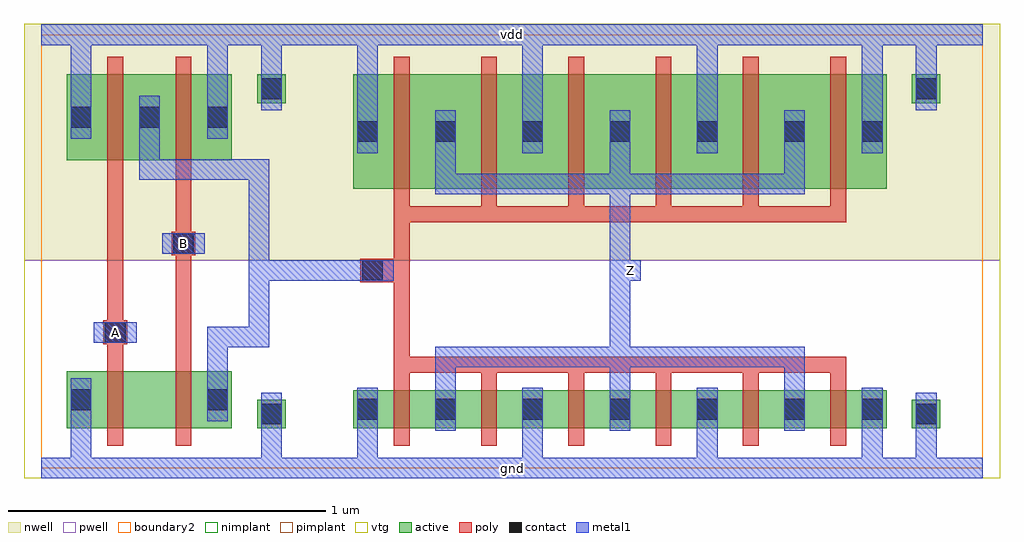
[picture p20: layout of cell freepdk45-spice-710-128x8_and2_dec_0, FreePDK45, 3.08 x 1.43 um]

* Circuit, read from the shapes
.subckt freepdk45-spice-710-128x8_and2_dec_0 A B Z gnd vdd
M1 freepdk45-spice-710-128x8_pnand2_0/freepdk45-spice-710-128x8_nmos_m1_w0_180_sm1_dactive_2/D A gnd gnd nfet w=0.18u l=0.05u
M2 freepdk45-spice-710-128x8_pinv_0_1/A B freepdk45-spice-710-128x8_pnand2_0/freepdk45-spice-710-128x8_nmos_m1_w0_180_sm1_dactive_2/D gnd nfet w=0.18u l=0.05u
M3 Z freepdk45-spice-710-128x8_pinv_0_1/A gnd gnd nfet w=0.12u l=0.05u m=6
M4 freepdk45-spice-710-128x8_pinv_0_1/A A vdd vdd pfet w=0.27u l=0.05u
M5 vdd B freepdk45-spice-710-128x8_pinv_0_1/A vdd pfet w=0.27u l=0.05u
M6 Z freepdk45-spice-710-128x8_pinv_0_1/A vdd vdd pfet w=0.36u l=0.05u m=6
.ends

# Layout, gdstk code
import gdstk
lib = gdstk.Library(unit=1e-6, precision=5e-10)
def R(c, l, rs):  # rectangles x0, y0, x1, y1
    for r in rs: c.add(gdstk.rectangle(r[:2], r[2:], *l))
def A(c, l, x, y, w, h, nx, ny, dx, dy):  # array of equal rectangles
    R(c, l, [(x+i*dx, y+j*dy, x+i*dx+w, y+j*dy+h) for i in range(nx) for j in range(ny)])
active = (1, 0)
pwell = (2, 0)
nwell = (3, 0)
nimplant = (4, 0)
pimplant = (5, 0)
vtg = (6, 0)
poly = (9, 0)
contact = (10, 0)
metal1 = (11, 0)
boundary2 = (239, 0)

freepdk45_spice_710_128x = lib.new_cell('freepdk45-spice-710-128x8_contact_11')
R(freepdk45_spice_710_128x, active, [(0,0.0225,0.09,0.1125)])
R(freepdk45_spice_710_128x, nwell, [(-0.055,-0.0325,0.145,0.1675)])
R(freepdk45_spice_710_128x, pimplant, [(0,0.0225,0.09,0.1125)])
R(freepdk45_spice_710_128x, contact, [(0.0125,0.035,0.0775,0.1)])
R(freepdk45_spice_710_128x, metal1, [(0.0125,0,0.0775,0.135)])
R(freepdk45_spice_710_128x, boundary2, [(-0.055,-0.0325,0.145,0.1675)])

c_freepdk45_spice_710_128x = lib.new_cell('freepdk45-spice-710-128x8_pmos_m1_w0_270_sm1_dm1')
R(c_freepdk45_spice_710_128x, active, [(0,0,0.305,0.27)])
R(c_freepdk45_spice_710_128x, nwell, [(-0.08,-0.08,0.385,0.35)])
R(c_freepdk45_spice_710_128x, pimplant, [(0,0,0.305,0.27)])
R(c_freepdk45_spice_710_128x, vtg, [(-0.08,-0.08,0.385,0.35)])
R(c_freepdk45_spice_710_128x, poly, [(0.1275,-0.055,0.1775,0.325), (0.1275,-0.055,0.1775,0.325)])
R(c_freepdk45_spice_710_128x, metal1, [(0.0125,0.0675,0.0775,0.2025), (0.2275,0.0675,0.2925,0.2025)])
R(c_freepdk45_spice_710_128x, boundary2, [(-0.08,-0.08,0.385,0.35)])
c_freepdk45_spice_710_128x.add(gdstk.Reference(freepdk45_spice_710_128x, (0,0.0675)))
c_freepdk45_spice_710_128x.add(gdstk.Reference(freepdk45_spice_710_128x, (0.215,0.0675)))
c_freepdk45_spice_710_128x.add(gdstk.Label('G', (0.1525,0.135), layer=9, texttype=0))
c_freepdk45_spice_710_128x.add(gdstk.Label('S', (0.045,0.135), layer=11, texttype=0))
c_freepdk45_spice_710_128x.add(gdstk.Label('D', (0.26,0.135), layer=11, texttype=0))

c_freepdk45_spice_710_128x_ = lib.new_cell('freepdk45-spice-710-128x8_contact_10')
R(c_freepdk45_spice_710_128x_, active, [(0,0.0225,0.09,0.1125)])
R(c_freepdk45_spice_710_128x_, pwell, [(-0.055,-0.0325,0.145,0.1675)])
R(c_freepdk45_spice_710_128x_, nimplant, [(0,0.0225,0.09,0.1125)])
R(c_freepdk45_spice_710_128x_, contact, [(0.0125,0.035,0.0775,0.1)])
R(c_freepdk45_spice_710_128x_, metal1, [(0.0125,0,0.0775,0.135)])
R(c_freepdk45_spice_710_128x_, boundary2, [(-0.055,-0.0325,0.145,0.1675)])

c_freepdk45_spice_710_128x__ = lib.new_cell('freepdk45-spice-710-128x8_nmos_m1_w0_180_sm1_dactive')
R(c_freepdk45_spice_710_128x__, active, [(0,0,0.305,0.18), (0.215,0.045,0.305,0.135)])
R(c_freepdk45_spice_710_128x__, pwell, [(-0.08,-0.08,0.385,0.26)])
R(c_freepdk45_spice_710_128x__, nimplant, [(0,0,0.305,0.18)])
R(c_freepdk45_spice_710_128x__, vtg, [(-0.08,-0.08,0.385,0.26)])
R(c_freepdk45_spice_710_128x__, poly, [(0.1275,-0.055,0.1775,0.235), (0.1275,-0.055,0.1775,0.235)])
R(c_freepdk45_spice_710_128x__, metal1, [(0.0125,0.0225,0.0775,0.1575)])
R(c_freepdk45_spice_710_128x__, boundary2, [(-0.08,-0.08,0.385,0.26)])
c_freepdk45_spice_710_128x__.add(gdstk.Reference(c_freepdk45_spice_710_128x_, (0,0.0225)))
c_freepdk45_spice_710_128x__.add(gdstk.Label('G', (0.1525,0.09), layer=9, texttype=0))
c_freepdk45_spice_710_128x__.add(gdstk.Label('S', (0.045,0.09), layer=11, texttype=0))
c_freepdk45_spice_710_128x__.add(gdstk.Label('D', (0.26,0.09), layer=1, texttype=0))

c_freepdk45_spice_710_128x___ = lib.new_cell('freepdk45-spice-710-128x8_nmos_m1_w0_180_sactive_dm1')
R(c_freepdk45_spice_710_128x___, active, [(0,0,0.305,0.18), (0,0.045,0.09,0.135)])
R(c_freepdk45_spice_710_128x___, pwell, [(-0.08,-0.08,0.385,0.26)])
R(c_freepdk45_spice_710_128x___, nimplant, [(0,0,0.305,0.18)])
R(c_freepdk45_spice_710_128x___, vtg, [(-0.08,-0.08,0.385,0.26)])
R(c_freepdk45_spice_710_128x___, poly, [(0.1275,-0.055,0.1775,0.235), (0.1275,-0.055,0.1775,0.235)])
R(c_freepdk45_spice_710_128x___, metal1, [(0.2275,0.0225,0.2925,0.1575)])
R(c_freepdk45_spice_710_128x___, boundary2, [(-0.08,-0.08,0.385,0.26)])
c_freepdk45_spice_710_128x___.add(gdstk.Reference(c_freepdk45_spice_710_128x_, (0.215,0.0225)))
c_freepdk45_spice_710_128x___.add(gdstk.Label('G', (0.1525,0.09), layer=9, texttype=0))
c_freepdk45_spice_710_128x___.add(gdstk.Label('S', (0.045,0.09), layer=1, texttype=0))
c_freepdk45_spice_710_128x___.add(gdstk.Label('D', (0.26,0.09), layer=11, texttype=0))

c_freepdk45_spice_710_128x____ = lib.new_cell('freepdk45-spice-710-128x8_contact_12')
R(c_freepdk45_spice_710_128x____, active, [(0,0.0225,0.09,0.1125)])
R(c_freepdk45_spice_710_128x____, nwell, [(-0.055,-0.0325,0.145,0.1675)])
R(c_freepdk45_spice_710_128x____, nimplant, [(0,0.0225,0.09,0.1125)])
R(c_freepdk45_spice_710_128x____, contact, [(0.0125,0.035,0.0775,0.1)])
R(c_freepdk45_spice_710_128x____, metal1, [(0.0125,0,0.0775,0.135)])
R(c_freepdk45_spice_710_128x____, boundary2, [(-0.055,-0.0325,0.145,0.1675)])

c_freepdk45_spice_710_128x_____ = lib.new_cell('freepdk45-spice-710-128x8_contact_13')
R(c_freepdk45_spice_710_128x_____, active, [(0,0.0225,0.09,0.1125)])
R(c_freepdk45_spice_710_128x_____, pwell, [(-0.055,-0.0325,0.145,0.1675)])
R(c_freepdk45_spice_710_128x_____, pimplant, [(0,0.0225,0.09,0.1125)])
R(c_freepdk45_spice_710_128x_____, contact, [(0.0125,0.035,0.0775,0.1)])
R(c_freepdk45_spice_710_128x_____, metal1, [(0.0125,0,0.0775,0.135)])
R(c_freepdk45_spice_710_128x_____, boundary2, [(-0.055,-0.0325,0.145,0.1675)])

c_freepdk45_spice_710_128x______ = lib.new_cell('freepdk45-spice-710-128x8_contact_14')
R(c_freepdk45_spice_710_128x______, poly, [(0.03,0,0.105,0.075)])
R(c_freepdk45_spice_710_128x______, contact, [(0.035,0.005,0.1,0.07)])
R(c_freepdk45_spice_710_128x______, metal1, [(0,0.005,0.135,0.07)])
R(c_freepdk45_spice_710_128x______, boundary2, [(0,0,0.135,0.075)])

c_freepdk45_spice_710_128x_______ = lib.new_cell('freepdk45-spice-710-128x8_pnand2')
R(c_freepdk45_spice_710_128x_______, pwell, [(-0.055,-0.0325,0.9575,0.655)])
R(c_freepdk45_spice_710_128x_______, nwell, [(-0.055,0.655,0.9575,1.4)])
R(c_freepdk45_spice_710_128x_______, vtg, [(-0.055,-0.0325,0.9575,0.655), (-0.055,0.655,0.9575,1.4)])
R(c_freepdk45_spice_710_128x_______, poly, [(0.2075,0.36,0.2575,0.915), (0.4225,0.36,0.4725,0.915), (0.2075,0.39,0.2325,0.465), (0.4225,0.67,0.4475,0.745)])
R(c_freepdk45_spice_710_128x_______, metal1, [(0,-0.0325,0.9025,0.0325), (0.0925,-0.0325,0.1575,0.1475), (0.6925,0,0.7575,0.17), (0.5225,0.2825,0.5875,0.4125), (0.5225,0.38,0.5875,0.445), (0.555,0.38,0.685,0.445), (0.6525,0.38,0.7175,0.445), (0.165,0.395,0.3,0.46), (0.6525,0.4125,0.7175,0.94), (0.38,0.675,0.515,0.74), (0.3075,0.9075,0.3725,0.9725), (0.34,0.9075,0.685,0.9725), (0.6525,0.9075,0.7175,0.9725), (0.3075,0.94,0.3725,1.0375), (0.0925,1.0375,0.1575,1.3975), (0.5225,1.0375,0.5875,1.3975), (0.6925,1.195,0.7575,1.365), (0,1.3325,0.9025,1.3975)])
R(c_freepdk45_spice_710_128x_______, boundary2, [(0,0,0.9025,1.365), (0,0,0.9025,1.365)])
c_freepdk45_spice_710_128x_______.add(gdstk.Reference(c_freepdk45_spice_710_128x, (0.08,0.97)))
c_freepdk45_spice_710_128x_______.add(gdstk.Reference(c_freepdk45_spice_710_128x, (0.295,0.97)))
c_freepdk45_spice_710_128x_______.add(gdstk.Reference(c_freepdk45_spice_710_128x__, (0.08,0.125)))
c_freepdk45_spice_710_128x_______.add(gdstk.Reference(c_freepdk45_spice_710_128x___, (0.295,0.125)))
c_freepdk45_spice_710_128x_______.add(gdstk.Reference(c_freepdk45_spice_710_128x____, (0.68,1.1275)))
c_freepdk45_spice_710_128x_______.add(gdstk.Reference(c_freepdk45_spice_710_128x_____, (0.68,0.1025)))
c_freepdk45_spice_710_128x_______.add(gdstk.Reference(c_freepdk45_spice_710_128x______, (0.165,0.39)))
c_freepdk45_spice_710_128x_______.add(gdstk.Reference(c_freepdk45_spice_710_128x______, (0.38,0.67)))
c_freepdk45_spice_710_128x_______.add(gdstk.Label('Z', (0.685,0.94), layer=11, texttype=0))
c_freepdk45_spice_710_128x_______.add(gdstk.Label('gnd', (0.451,0), layer=11, texttype=0))
c_freepdk45_spice_710_128x_______.add(gdstk.Label('vdd', (0.451,1.365), layer=11, texttype=0))
c_freepdk45_spice_710_128x_______.add(gdstk.Label('A', (0.2325,0.4275), layer=11, texttype=0))
c_freepdk45_spice_710_128x_______.add(gdstk.Label('B', (0.4475,0.7075), layer=11, texttype=0))

c_freepdk45_spice_710_128x________ = lib.new_cell('freepdk45-spice-710-128x8_pmos_m6_w0_360_sm1_dm1_da_p')
R(c_freepdk45_spice_710_128x________, active, [(0,0,1.68,0.36)])
R(c_freepdk45_spice_710_128x________, nwell, [(-0.08,-0.08,1.76,0.44)])
R(c_freepdk45_spice_710_128x________, pimplant, [(0,0,1.68,0.36)])
R(c_freepdk45_spice_710_128x________, vtg, [(-0.08,-0.08,1.76,0.44)])
A(c_freepdk45_spice_710_128x________, poly, 0.1275, -0.055, 0.05, 0.47, 6, 1, 0.275, 0)
R(c_freepdk45_spice_710_128x________, poly, [(0.1275,-0.105,1.5525,-0.055)])
A(c_freepdk45_spice_710_128x________, metal1, 0.2575, 0.015, 0.065, 0.165, 3, 1, 0.55, 0)
R(c_freepdk45_spice_710_128x________, metal1, [(0.2575,-0.0175,1.4225,0.0475), (0.0125,0.1125,0.0775,0.2475), (0.5325,0.1125,0.5975,0.2475), (1.0825,0.1125,1.1475,0.2475), (1.6025,0.1125,1.6675,0.2475)])
R(c_freepdk45_spice_710_128x________, boundary2, [(-0.08,-0.105,1.76,0.44)])
c_freepdk45_spice_710_128x________.add(gdstk.Reference(freepdk45_spice_710_128x, (0,0.1125)))
c_freepdk45_spice_710_128x________.add(gdstk.Reference(freepdk45_spice_710_128x, (0.245,0.1125)))
c_freepdk45_spice_710_128x________.add(gdstk.Reference(freepdk45_spice_710_128x, (0.52,0.1125)))
c_freepdk45_spice_710_128x________.add(gdstk.Reference(freepdk45_spice_710_128x, (0.795,0.1125)))
c_freepdk45_spice_710_128x________.add(gdstk.Reference(freepdk45_spice_710_128x, (1.07,0.1125)))
c_freepdk45_spice_710_128x________.add(gdstk.Reference(freepdk45_spice_710_128x, (1.345,0.1125)))
c_freepdk45_spice_710_128x________.add(gdstk.Reference(freepdk45_spice_710_128x, (1.59,0.1125)))
c_freepdk45_spice_710_128x________.add(gdstk.Label('G', (0.84,-0.08), layer=9, texttype=0))
c_freepdk45_spice_710_128x________.add(gdstk.Label('S', (1.115,0.18), layer=11, texttype=0))
c_freepdk45_spice_710_128x________.add(gdstk.Label('S', (0.045,0.18), layer=11, texttype=0))
c_freepdk45_spice_710_128x________.add(gdstk.Label('S', (1.635,0.18), layer=11, texttype=0))
c_freepdk45_spice_710_128x________.add(gdstk.Label('S', (0.565,0.18), layer=11, texttype=0))
c_freepdk45_spice_710_128x________.add(gdstk.Label('D', (0.84,0.015), layer=11, texttype=0))

c_freepdk45_spice_710_128x_________ = lib.new_cell('freepdk45-spice-710-128x8_nmos_m6_w0_120_sm1_dm1_da_p')
R(c_freepdk45_spice_710_128x_________, active, [(0,0,1.68,0.12)])
R(c_freepdk45_spice_710_128x_________, pwell, [(-0.08,-0.08,1.76,0.2)])
R(c_freepdk45_spice_710_128x_________, nimplant, [(0,0,1.68,0.12)])
R(c_freepdk45_spice_710_128x_________, vtg, [(-0.08,-0.08,1.76,0.2)])
A(c_freepdk45_spice_710_128x_________, poly, 0.1275, -0.055, 0.05, 0.23, 6, 1, 0.275, 0)
R(c_freepdk45_spice_710_128x_________, poly, [(0.1275,0.175,1.5525,0.225)])
A(c_freepdk45_spice_710_128x_________, metal1, 0.2575, 0.06, 0.065, 0.165, 3, 1, 0.55, 0)
R(c_freepdk45_spice_710_128x_________, metal1, [(0.0125,-0.0075,0.0775,0.1275), (0.5325,-0.0075,0.5975,0.1275), (1.0825,-0.0075,1.1475,0.1275), (1.6025,-0.0075,1.6675,0.1275), (0.2575,0.1925,1.4225,0.2575)])
R(c_freepdk45_spice_710_128x_________, boundary2, [(-0.08,-0.08,1.76,0.2575)])
c_freepdk45_spice_710_128x_________.add(gdstk.Reference(c_freepdk45_spice_710_128x_, (0,-0.0075)))
c_freepdk45_spice_710_128x_________.add(gdstk.Reference(c_freepdk45_spice_710_128x_, (0.245,-0.0075)))
c_freepdk45_spice_710_128x_________.add(gdstk.Reference(c_freepdk45_spice_710_128x_, (0.52,-0.0075)))
c_freepdk45_spice_710_128x_________.add(gdstk.Reference(c_freepdk45_spice_710_128x_, (0.795,-0.0075)))
c_freepdk45_spice_710_128x_________.add(gdstk.Reference(c_freepdk45_spice_710_128x_, (1.07,-0.0075)))
c_freepdk45_spice_710_128x_________.add(gdstk.Reference(c_freepdk45_spice_710_128x_, (1.345,-0.0075)))
c_freepdk45_spice_710_128x_________.add(gdstk.Reference(c_freepdk45_spice_710_128x_, (1.59,-0.0075)))
c_freepdk45_spice_710_128x_________.add(gdstk.Label('G', (0.84,0.2), layer=9, texttype=0))
c_freepdk45_spice_710_128x_________.add(gdstk.Label('S', (1.115,0.06), layer=11, texttype=0))
c_freepdk45_spice_710_128x_________.add(gdstk.Label('S', (1.635,0.06), layer=11, texttype=0))
c_freepdk45_spice_710_128x_________.add(gdstk.Label('S', (0.565,0.06), layer=11, texttype=0))
c_freepdk45_spice_710_128x_________.add(gdstk.Label('S', (0.045,0.06), layer=11, texttype=0))
c_freepdk45_spice_710_128x_________.add(gdstk.Label('D', (0.84,0.225), layer=11, texttype=0))

c_freepdk45_spice_710_128x__________ = lib.new_cell('freepdk45-spice-710-128x8_pinv_0')
R(c_freepdk45_spice_710_128x__________, pwell, [(-0.055,-0.0325,2.1175,0.655)])
R(c_freepdk45_spice_710_128x__________, nwell, [(-0.055,0.655,2.1175,1.4)])
R(c_freepdk45_spice_710_128x__________, vtg, [(-0.055,-0.0325,2.1175,0.655), (-0.055,0.655,2.1175,1.4)])
R(c_freepdk45_spice_710_128x__________, poly, [(0.2075,0.35,0.2575,0.775), (0.14,0.585,0.2075,0.66)])
R(c_freepdk45_spice_710_128x__________, metal1, [(0,-0.0325,2.0625,0.0325), (0.0925,-0.0325,0.1575,0.1175), (0.6125,-0.0325,0.6775,0.1175), (1.1625,-0.0325,1.2275,0.1175), (1.6825,-0.0325,1.7475,0.1175), (1.8525,0,1.9175,0.17), (0.8875,0.3175,0.9525,0.9275), (0.0725,0.59,0.2075,0.655), (0.92,0.59,0.985,0.655), (0.0925,0.9925,0.1575,1.3975), (0.6125,0.9925,0.6775,1.3975), (1.1625,0.9925,1.2275,1.3975), (1.6825,0.9925,1.7475,1.3975), (1.8525,1.195,1.9175,1.365), (0,1.3325,2.0625,1.3975)])
R(c_freepdk45_spice_710_128x__________, boundary2, [(0,0,2.0625,1.365), (0,0,2.0625,1.365)])
c_freepdk45_spice_710_128x__________.add(gdstk.Reference(c_freepdk45_spice_710_128x________, (0.08,0.88)))
c_freepdk45_spice_710_128x__________.add(gdstk.Reference(c_freepdk45_spice_710_128x_________, (0.08,0.125)))
c_freepdk45_spice_710_128x__________.add(gdstk.Reference(c_freepdk45_spice_710_128x____, (1.84,1.1275)))
c_freepdk45_spice_710_128x__________.add(gdstk.Reference(c_freepdk45_spice_710_128x_____, (1.84,0.1025)))
c_freepdk45_spice_710_128x__________.add(gdstk.Reference(c_freepdk45_spice_710_128x______, (0.0725,0.585)))
c_freepdk45_spice_710_128x__________.add(gdstk.Label('A', (0.14,0.6225), layer=11, texttype=0))
c_freepdk45_spice_710_128x__________.add(gdstk.Label('Z', (0.9525,0.6225), layer=11, texttype=0))
c_freepdk45_spice_710_128x__________.add(gdstk.Label('gnd', (1.031,0), layer=11, texttype=0))
c_freepdk45_spice_710_128x__________.add(gdstk.Label('vdd', (1.031,1.365), layer=11, texttype=0))

c_freepdk45_spice_710_128x___________ = lib.new_cell('freepdk45-spice-710-128x8_and2_dec_0')
R(c_freepdk45_spice_710_128x___________, metal1, [(0,-0.0325,2.965,0.0325), (0.165,0.395,0.3,0.46), (0.6525,0.59,0.7175,0.655), (0.685,0.59,1.0425,0.655), (1.8225,0.59,1.8875,0.655), (0.6525,0.6225,0.7175,0.94), (0.38,0.675,0.515,0.74), (0,1.3325,2.965,1.3975)])
R(c_freepdk45_spice_710_128x___________, boundary2, [(0,0,2.965,1.365)])
c_freepdk45_spice_710_128x___________.add(gdstk.Reference(c_freepdk45_spice_710_128x_______, (0,0)))
c_freepdk45_spice_710_128x___________.add(gdstk.Reference(c_freepdk45_spice_710_128x__________, (0.9025,0)))
c_freepdk45_spice_710_128x___________.add(gdstk.Label('Z', (1.855,0.6225), layer=11, texttype=0))
c_freepdk45_spice_710_128x___________.add(gdstk.Label('A', (0.2325,0.4275), layer=11, texttype=0))
c_freepdk45_spice_710_128x___________.add(gdstk.Label('B', (0.4475,0.7075), layer=11, texttype=0))
c_freepdk45_spice_710_128x___________.add(gdstk.Label('gnd', (1.4825,0), layer=11, texttype=0))
c_freepdk45_spice_710_128x___________.add(gdstk.Label('vdd', (1.4825,1.365), layer=11, texttype=0))

lib.write_gds('freepdk45-spice-710-128x8_and2_dec_0.gds')
